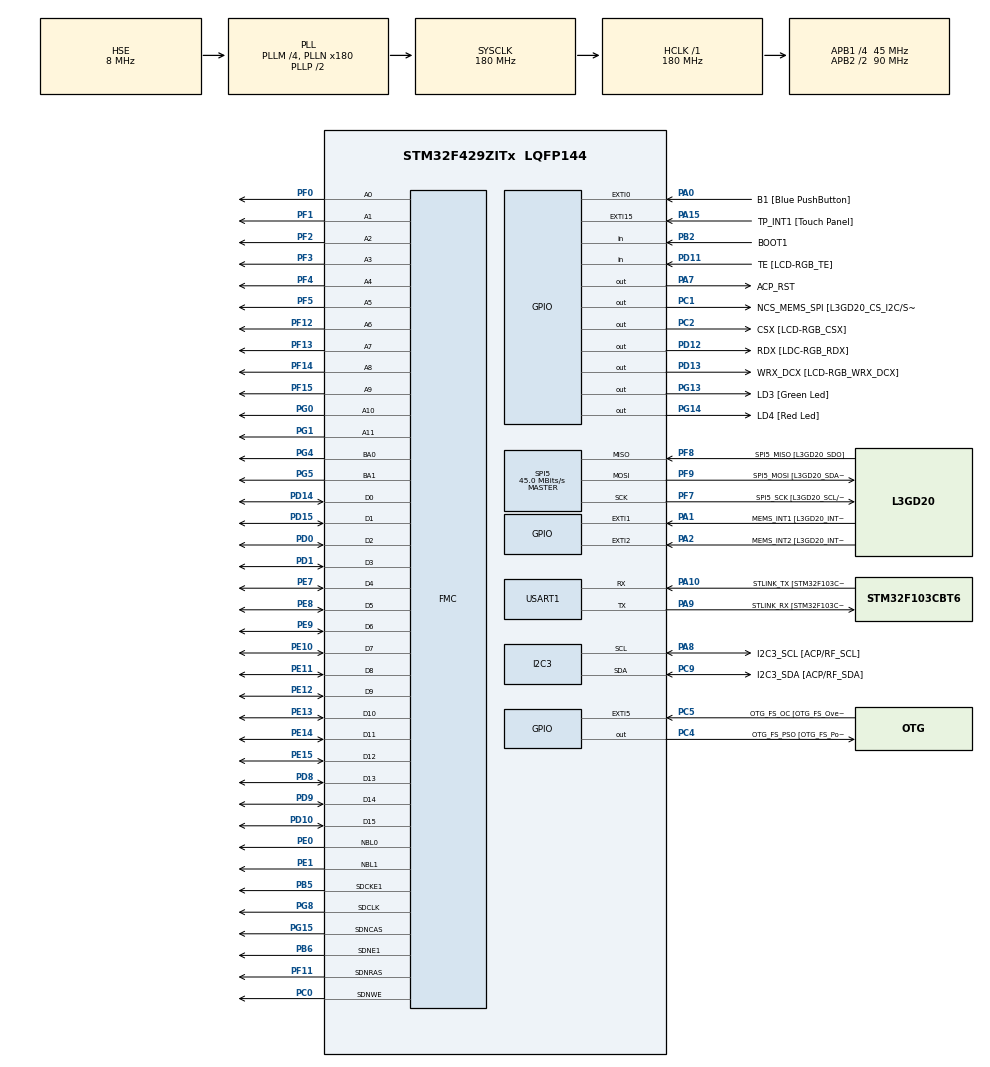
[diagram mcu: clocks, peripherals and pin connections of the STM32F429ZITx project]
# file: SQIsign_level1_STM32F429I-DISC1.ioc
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Mcu.Family=STM32F4
Mcu.Name=STM32F429ZITx
Mcu.Package=LQFP144
NVIC.PriorityGroup=NVIC_PRIORITYGROUP_4
NVIC.TIM6_DAC_IRQn=true\:15\:0\:false\:false\:true\:false\:true\:true
NVIC.TimeBase=TIM6_DAC_IRQn
NVIC.TimeBaseIP=TIM6
PA0/WKUP.GPIO_Label=B1 [Blue PushButton]
PA0/WKUP.GPIO_ModeDefaultEXTI=GPIO_MODE_EVT_RISING
PA0/WKUP.GPIO_PuPd=GPIO_NOPULL
PA0/WKUP.Signal=GPXTI0
PA1.GPIO_Label=MEMS_INT1 [L3GD20_INT1]
PA1.GPIO_ModeDefaultEXTI=GPIO_MODE_EVT_RISING
PA1.GPIO_PuPd=GPIO_NOPULL
PA1.Signal=GPXTI1
PA10.GPIO_Label=STLINK_TX [STM32F103CBT6_PA2]
PA10.Mode=Asynchronous
PA10.Signal=USART1_RX
PA11.GPIO_Label=R4
PA11.GPIO_Mode=GPIO_MODE_AF_PP
PA11.GPIO_PuPd=GPIO_NOPULL
PA11.GPIO_Speed=GPIO_SPEED_FREQ_LOW
PA11.Signal=LTDC_R4
PA12.GPIO_Label=R5
PA12.GPIO_Mode=GPIO_MODE_AF_PP
PA12.GPIO_PuPd=GPIO_NOPULL
PA12.GPIO_Speed=GPIO_SPEED_FREQ_LOW
PA12.Signal=LTDC_R5
PA13.GPIO_Label=SWDIO
PA13.Mode=Serial_Wire
PA13.Signal=SYS_JTMS-SWDIO
PA14.GPIO_Label=SWCLK
PA14.Mode=Serial_Wire
PA14.Signal=SYS_JTCK-SWCLK
PA15.GPIO_Label=TP_INT1 [Touch Panel]
PA15.GPIO_ModeDefaultEXTI=GPIO_MODE_EVT_RISING
PA15.GPIO_PuPd=GPIO_NOPULL
PA15.Signal=GPXTI15
PA2.GPIO_Label=MEMS_INT2 [L3GD20_INT2]
PA2.GPIO_ModeDefaultEXTI=GPIO_MODE_EVT_RISING
PA2.GPIO_PuPd=GPIO_NOPULL
PA2.Signal=GPXTI2
PA3.GPIO_Label=B5
PA3.GPIO_Mode=GPIO_MODE_AF_PP
PA3.GPIO_PuPd=GPIO_NOPULL
PA3.GPIO_Speed=GPIO_SPEED_FREQ_LOW
PA3.Signal=LTDC_B5
PA4.GPIO_Label=VSYNC
PA4.GPIO_Mode=GPIO_MODE_AF_PP
PA4.GPIO_PuPd=GPIO_NOPULL
PA4.GPIO_Speed=GPIO_SPEED_FREQ_LOW
PA4.Signal=LTDC_VSYNC
PA6.GPIO_Label=G2
PA6.GPIO_Mode=GPIO_MODE_AF_PP
PA6.GPIO_PuPd=GPIO_NOPULL
PA6.GPIO_Speed=GPIO_SPEED_FREQ_LOW
PA6.Signal=LTDC_G2
PA7.GPIO_Label=ACP_RST
PA7.GPIO_Mode=GPIO_MODE_OUTPUT_PP
PA7.GPIO_PuPd=GPIO_NOPULL
PA7.GPIO_Speed=GPIO_SPEED_FREQ_LOW
PA7.Signal=GPIO_Output
PA8.GPIO_Label=I2C3_SCL [ACP/RF_SCL]
PA8.GPIO_Mode=GPIO_MODE_AF_OD
PA8.GPIO_Pu=GPIO_PULLUP
PA8.GPIO_PuPd=GPIO_NOPULL
PA8.GPIO_Speed=GPIO_SPEED_FREQ_LOW
PA8.Mode=I2C
PA8.Signal=I2C3_SCL
PA9.GPIO_Label=STLINK_RX [STM32F103CBT6_PA3]
PA9.Mode=Asynchronous
PA9.Signal=USART1_TX
PB0.GPIO_Label=R3
PB0.GPIO_Mode=GPIO_MODE_AF_PP
PB0.GPIO_PuPd=GPIO_NOPULL
PB0.GPIO_Speed=GPIO_SPEED_FREQ_LOW
PB0.Signal=LTDC_R3
PB1.GPIO_Label=R6
PB1.GPIO_Mode=GPIO_MODE_AF_PP
PB1.GPIO_PuPd=GPIO_NOPULL
PB1.GPIO_Speed=GPIO_SPEED_FREQ_LOW
PB1.Signal=LTDC_R6
PB10.GPIO_Label=G4
PB10.GPIO_Mode=GPIO_MODE_AF_PP
PB10.GPIO_PuPd=GPIO_NOPULL
PB10.GPIO_Speed=GPIO_SPEED_FREQ_LOW
PB10.Signal=LTDC_G4
PB11.GPIO_Label=G5
PB11.GPIO_Mode=GPIO_MODE_AF_PP
PB11.GPIO_PuPd=GPIO_NOPULL
PB11.GPIO_Speed=GPIO_SPEED_FREQ_LOW
PB11.Signal=LTDC_G5
PB12.GPIO_Label=OTG_HS_ID
PB12.GPIO_Mode=GPIO_MODE_AF_PP
PB12.GPIO_PuPd=GPIO_NOPULL
PB12.GPIO_Speed=GPIO_SPEED_FREQ_LOW
PB12.Signal=USB_OTG_HS_ID
PB13.GPIO_Label=VBUS_HS
PB13.GPIO_Mode=GPIO_MODE_INPUT
PB13.GPIO_PuPd=GPIO_NOPULL
PB13.Signal=USB_OTG_HS_VBUS
PB14.GPIO_Label=OTG_HS_DM
PB14.GPIO_Mode=GPIO_MODE_AF_PP
PB14.GPIO_PuPd=GPIO_NOPULL
PB14.GPIO_Speed=GPIO_SPEED_FREQ_LOW
PB14.Signal=USB_OTG_HS_DM
PB15.GPIO_Label=OTG_HS_DP
PB15.GPIO_Mode=GPIO_MODE_AF_PP
PB15.GPIO_PuPd=GPIO_NOPULL
PB15.GPIO_Speed=GPIO_SPEED_FREQ_LOW
PB15.Signal=USB_OTG_HS_DP
PB2/BOOT1.GPIO_Label=BOOT1
PB2/BOOT1.GPIO_Mode=GPIO_MODE_INPUT
PB2/BOOT1.GPIO_PuPd=GPIO_NOPULL
PB2/BOOT1.Signal=GPIO_Input
PB5.GPIO_Mode=GPIO_MODE_AF_PP
PB5.GPIO_PuPd=GPIO_NOPULL
PB5.GPIO_Speed=GPIO_SPEED_FREQ_VERY_HIGH
PB5.GPIO_Speed_High_Default=GPIO_SPEED_FREQ_VERY_HIGH
PB5.Mode=SdramChipSelect2_1
PB5.Signal=FMC_SDCKE1
PB6.GPIO_Mode=GPIO_MODE_AF_PP
PB6.GPIO_PuPd=GPIO_NOPULL
PB6.GPIO_Speed=GPIO_SPEED_FREQ_VERY_HIGH
PB6.GPIO_Speed_High_Default=GPIO_SPEED_FREQ_VERY_HIGH
PB6.Mode=SdramChipSelect2_1
PB6.Signal=FMC_SDNE1
PB8.GPIO_Label=B6
PB8.GPIO_Mode=GPIO_MODE_AF_PP
PB8.GPIO_PuPd=GPIO_NOPULL
PB8.GPIO_Speed=GPIO_SPEED_FREQ_LOW
PB8.Signal=LTDC_B6
PB9.GPIO_Label=B7
PB9.GPIO_Mode=GPIO_MODE_AF_PP
PB9.GPIO_PuPd=GPIO_NOPULL
PB9.GPIO_Speed=GPIO_SPEED_FREQ_LOW
PB9.Signal=LTDC_B7
PC0.GPIO_Mode=GPIO_MODE_AF_PP
PC0.GPIO_PuPd=GPIO_NOPULL
PC0.GPIO_Speed=GPIO_SPEED_FREQ_VERY_HIGH
PC0.GPIO_Speed_High_Default=GPIO_SPEED_FREQ_VERY_HIGH
PC0.Signal=FMC_SDNWE
PC1.GPIO_Label=NCS_MEMS_SPI [L3GD20_CS_I2C/SPI]
PC1.GPIO_Mode=GPIO_MODE_OUTPUT_PP
PC1.GPIO_PuPd=GPIO_NOPULL
PC1.GPIO_Speed=GPIO_SPEED_FREQ_LOW
PC1.Signal=GPIO_Output
PC10.GPIO_Label=R2
PC10.GPIO_Mode=GPIO_MODE_AF_PP
PC10.GPIO_PuPd=GPIO_NOPULL
PC10.GPIO_Speed=GPIO_SPEED_FREQ_LOW
PC10.Signal=LTDC_R2
PC14/OSC32_IN.GPIO_Label=PC14-OSC32_IN
PC14/OSC32_IN.Signal=RCC_OSC32_IN
PC15/OSC32_OUT.GPIO_Label=PC15-OSC32_OUT
PC15/OSC32_OUT.Signal=RCC_OSC32_OUT
PC2.GPIO_Label=CSX [LCD-RGB_CSX]
PC2.GPIO_Mode=GPIO_MODE_OUTPUT_PP
PC2.GPIO_PuPd=GPIO_NOPULL
PC2.GPIO_Speed=GPIO_SPEED_FREQ_LOW
PC2.Signal=GPIO_Output
PC4.GPIO_Label=OTG_FS_PSO [OTG_FS_PowerSwitchOn]
PC4.GPIO_Mode=GPIO_MODE_OUTPUT_PP
PC4.GPIO_PuPd=GPIO_NOPULL
PC4.GPIO_Speed=GPIO_SPEED_FREQ_LOW
PC4.Signal=GPIO_Output
PC5.GPIO_Label=OTG_FS_OC [OTG_FS_OverCurrent]
PC5.GPIO_ModeDefaultEXTI=GPIO_MODE_EVT_RISING
PC5.Signal=GPXTI5
PC6.GPIO_Label=HSYNC
PC6.GPIO_Mode=GPIO_MODE_AF_PP
PC6.GPIO_PuPd=GPIO_NOPULL
PC6.GPIO_Speed=GPIO_SPEED_FREQ_LOW
PC6.Signal=LTDC_HSYNC
PC7.GPIO_Label=G6
PC7.GPIO_Mode=GPIO_MODE_AF_PP
PC7.GPIO_PuPd=GPIO_NOPULL
PC7.GPIO_Speed=GPIO_SPEED_FREQ_LOW
PC7.Signal=LTDC_G6
PC9.GPIO_Label=I2C3_SDA [ACP/RF_SDA]
PC9.GPIO_Mode=GPIO_MODE_AF_OD
PC9.GPIO_Pu=GPIO_PULLUP
PC9.GPIO_PuPd=GPIO_NOPULL
PC9.GPIO_Speed=GPIO_SPEED_FREQ_LOW
PC9.Mode=I2C
PC9.Signal=I2C3_SDA
PD0.GPIO_Mode=GPIO_MODE_AF_PP
PD0.GPIO_PuPd=GPIO_NOPULL
PD0.GPIO_Speed=GPIO_SPEED_FREQ_VERY_HIGH
PD0.GPIO_Speed_High_Default=GPIO_SPEED_FREQ_VERY_HIGH
PD0.Signal=FMC_D2_DA2
PD1.GPIO_Mode=GPIO_MODE_AF_PP
PD1.GPIO_PuPd=GPIO_NOPULL
PD1.GPIO_Speed=GPIO_SPEED_FREQ_VERY_HIGH
PD1.GPIO_Speed_High_Default=GPIO_SPEED_FREQ_VERY_HIGH
PD1.Signal=FMC_D3_DA3
PD10.GPIO_Mode=GPIO_MODE_AF_PP
PD10.GPIO_PuPd=GPIO_NOPULL
PD10.GPIO_Speed=GPIO_SPEED_FREQ_VERY_HIGH
PD10.GPIO_Speed_High_Default=GPIO_SPEED_FREQ_VERY_HIGH
PD10.Signal=FMC_D15_DA15
PD11.GPIO_Label=TE [LCD-RGB_TE]
PD11.GPIO_Mode=GPIO_MODE_INPUT
PD11.GPIO_PuPd=GPIO_NOPULL
PD11.Signal=GPIO_Input
PD12.GPIO_Label=RDX [LDC-RGB_RDX]
PD12.GPIO_Mode=GPIO_MODE_OUTPUT_PP
PD12.GPIO_PuPd=GPIO_NOPULL
PD12.GPIO_Speed=GPIO_SPEED_FREQ_LOW
PD12.Signal=GPIO_Output
PD13.GPIO_Label=WRX_DCX [LCD-RGB_WRX_DCX]
PD13.GPIO_Mode=GPIO_MODE_OUTPUT_PP
PD13.GPIO_PuPd=GPIO_NOPULL
PD13.GPIO_Speed=GPIO_SPEED_FREQ_LOW
PD13.Signal=GPIO_Output
PD14.GPIO_Mode=GPIO_MODE_AF_PP
PD14.GPIO_PuPd=GPIO_NOPULL
PD14.GPIO_Speed=GPIO_SPEED_FREQ_VERY_HIGH
PD14.GPIO_Speed_High_Default=GPIO_SPEED_FREQ_VERY_HIGH
PD14.Signal=FMC_D0_DA0
PD15.GPIO_Mode=GPIO_MODE_AF_PP
PD15.GPIO_PuPd=GPIO_NOPULL
PD15.GPIO_Speed=GPIO_SPEED_FREQ_VERY_HIGH
PD15.GPIO_Speed_High_Default=GPIO_SPEED_FREQ_VERY_HIGH
PD15.Signal=FMC_D1_DA1
PD3.GPIO_Label=G7
PD3.GPIO_Mode=GPIO_MODE_AF_PP
PD3.GPIO_PuPd=GPIO_NOPULL
PD3.GPIO_Speed=GPIO_SPEED_FREQ_LOW
PD3.Signal=LTDC_G7
PD6.GPIO_Label=B2
PD6.GPIO_Mode=GPIO_MODE_AF_PP
PD6.GPIO_PuPd=GPIO_NOPULL
PD6.GPIO_Speed=GPIO_SPEED_FREQ_LOW
PD6.Signal=LTDC_B2
PD8.GPIO_Mode=GPIO_MODE_AF_PP
PD8.GPIO_PuPd=GPIO_NOPULL
PD8.GPIO_Speed=GPIO_SPEED_FREQ_VERY_HIGH
PD8.GPIO_Speed_High_Default=GPIO_SPEED_FREQ_VERY_HIGH
PD8.Signal=FMC_D13_DA13
PD9.GPIO_Mode=GPIO_MODE_AF_PP
PD9.GPIO_PuPd=GPIO_NOPULL
PD9.GPIO_Speed=GPIO_SPEED_FREQ_VERY_HIGH
PD9.GPIO_Speed_High_Default=GPIO_SPEED_FREQ_VERY_HIGH
PD9.Signal=FMC_D14_DA14
PE0.GPIO_Mode=GPIO_MODE_AF_PP
PE0.GPIO_PuPd=GPIO_NOPULL
PE0.GPIO_Speed=GPIO_SPEED_FREQ_VERY_HIGH
PE0.GPIO_Speed_High_Default=GPIO_SPEED_FREQ_VERY_HIGH
PE0.Signal=FMC_NBL0
PE1.GPIO_Mode=GPIO_MODE_AF_PP
PE1.GPIO_PuPd=GPIO_NOPULL
PE1.GPIO_Speed=GPIO_SPEED_FREQ_VERY_HIGH
PE1.GPIO_Speed_High_Default=GPIO_SPEED_FREQ_VERY_HIGH
PE1.Signal=FMC_NBL1
PE10.GPIO_Mode=GPIO_MODE_AF_PP
PE10.GPIO_PuPd=GPIO_NOPULL
PE10.GPIO_Speed=GPIO_SPEED_FREQ_VERY_HIGH
PE10.GPIO_Speed_High_Default=GPIO_SPEED_FREQ_VERY_HIGH
PE10.Signal=FMC_D7_DA7
PE11.GPIO_Mode=GPIO_MODE_AF_PP
PE11.GPIO_PuPd=GPIO_NOPULL
PE11.GPIO_Speed=GPIO_SPEED_FREQ_VERY_HIGH
PE11.GPIO_Speed_High_Default=GPIO_SPEED_FREQ_VERY_HIGH
PE11.Signal=FMC_D8_DA8
PE12.GPIO_Mode=GPIO_MODE_AF_PP
PE12.GPIO_PuPd=GPIO_NOPULL
PE12.GPIO_Speed=GPIO_SPEED_FREQ_VERY_HIGH
PE12.GPIO_Speed_High_Default=GPIO_SPEED_FREQ_VERY_HIGH
PE12.Signal=FMC_D9_DA9
PE13.GPIO_Mode=GPIO_MODE_AF_PP
PE13.GPIO_PuPd=GPIO_NOPULL
PE13.GPIO_Speed=GPIO_SPEED_FREQ_VERY_HIGH
PE13.GPIO_Speed_High_Default=GPIO_SPEED_FREQ_VERY_HIGH
PE13.Signal=FMC_D10_DA10
PE14.GPIO_Mode=GPIO_MODE_AF_PP
PE14.GPIO_PuPd=GPIO_NOPULL
PE14.GPIO_Speed=GPIO_SPEED_FREQ_VERY_HIGH
PE14.GPIO_Speed_High_Default=GPIO_SPEED_FREQ_VERY_HIGH
PE14.Signal=FMC_D11_DA11
PE15.GPIO_Mode=GPIO_MODE_AF_PP
PE15.GPIO_PuPd=GPIO_NOPULL
PE15.GPIO_Speed=GPIO_SPEED_FREQ_VERY_HIGH
PE15.GPIO_Speed_High_Default=GPIO_SPEED_FREQ_VERY_HIGH
PE15.Signal=FMC_D12_DA12
PE7.GPIO_Mode=GPIO_MODE_AF_PP
PE7.GPIO_PuPd=GPIO_NOPULL
PE7.GPIO_Speed=GPIO_SPEED_FREQ_VERY_HIGH
PE7.GPIO_Speed_High_Default=GPIO_SPEED_FREQ_VERY_HIGH
PE7.Signal=FMC_D4_DA4
PE8.GPIO_Mode=GPIO_MODE_AF_PP
PE8.GPIO_PuPd=GPIO_NOPULL
PE8.GPIO_Speed=GPIO_SPEED_FREQ_VERY_HIGH
PE8.GPIO_Speed_High_Default=GPIO_SPEED_FREQ_VERY_HIGH
PE8.Signal=FMC_D5_DA5
PE9.GPIO_Mode=GPIO_MODE_AF_PP
PE9.GPIO_PuPd=GPIO_NOPULL
PE9.GPIO_Speed=GPIO_SPEED_FREQ_VERY_HIGH
PE9.GPIO_Speed_High_Default=GPIO_SPEED_FREQ_VERY_HIGH
PE9.Signal=FMC_D6_DA6
PF0.GPIO_Mode=GPIO_MODE_AF_PP
PF0.GPIO_PuPd=GPIO_NOPULL
PF0.GPIO_Speed=GPIO_SPEED_FREQ_VERY_HIGH
PF0.GPIO_Speed_High_Default=GPIO_SPEED_FREQ_VERY_HIGH
PF0.Signal=FMC_A0
PF1.GPIO_Mode=GPIO_MODE_AF_PP
PF1.GPIO_PuPd=GPIO_NOPULL
PF1.GPIO_Speed=GPIO_SPEED_FREQ_VERY_HIGH
PF1.GPIO_Speed_High_Default=GPIO_SPEED_FREQ_VERY_HIGH
PF1.Signal=FMC_A1
PF10.GPIO_Label=ENABLE [LCD-RGB_ENABLE]
PF10.GPIO_Mode=GPIO_MODE_AF_PP
PF10.GPIO_PuPd=GPIO_NOPULL
PF10.GPIO_Speed=GPIO_SPEED_FREQ_LOW
PF10.Signal=LTDC_DE
PF11.GPIO_Mode=GPIO_MODE_AF_PP
PF11.GPIO_PuPd=GPIO_NOPULL
PF11.GPIO_Speed=GPIO_SPEED_FREQ_VERY_HIGH
PF11.GPIO_Speed_High_Default=GPIO_SPEED_FREQ_VERY_HIGH
PF11.Signal=FMC_SDNRAS
PF12.GPIO_Mode=GPIO_MODE_AF_PP
PF12.GPIO_PuPd=GPIO_NOPULL
PF12.GPIO_Speed=GPIO_SPEED_FREQ_VERY_HIGH
PF12.GPIO_Speed_High_Default=GPIO_SPEED_FREQ_VERY_HIGH
PF12.Signal=FMC_A6
PF13.GPIO_Mode=GPIO_MODE_AF_PP
PF13.GPIO_PuPd=GPIO_NOPULL
PF13.GPIO_Speed=GPIO_SPEED_FREQ_VERY_HIGH
PF13.GPIO_Speed_High_Default=GPIO_SPEED_FREQ_VERY_HIGH
PF13.Signal=FMC_A7
PF14.GPIO_Mode=GPIO_MODE_AF_PP
PF14.GPIO_PuPd=GPIO_NOPULL
PF14.GPIO_Speed=GPIO_SPEED_FREQ_VERY_HIGH
PF14.GPIO_Speed_High_Default=GPIO_SPEED_FREQ_VERY_HIGH
PF14.Signal=FMC_A8
PF15.GPIO_Mode=GPIO_MODE_AF_PP
PF15.GPIO_PuPd=GPIO_NOPULL
PF15.GPIO_Speed=GPIO_SPEED_FREQ_VERY_HIGH
PF15.GPIO_Speed_High_Default=GPIO_SPEED_FREQ_VERY_HIGH
PF15.Signal=FMC_A9
PF2.GPIO_Mode=GPIO_MODE_AF_PP
PF2.GPIO_PuPd=GPIO_NOPULL
PF2.GPIO_Speed=GPIO_SPEED_FREQ_VERY_HIGH
PF2.GPIO_Speed_High_Default=GPIO_SPEED_FREQ_VERY_HIGH
PF2.Signal=FMC_A2
PF3.GPIO_Mode=GPIO_MODE_AF_PP
PF3.GPIO_PuPd=GPIO_NOPULL
PF3.GPIO_Speed=GPIO_SPEED_FREQ_VERY_HIGH
PF3.GPIO_Speed_High_Default=GPIO_SPEED_FREQ_VERY_HIGH
PF3.Signal=FMC_A3
PF4.GPIO_Mode=GPIO_MODE_AF_PP
PF4.GPIO_PuPd=GPIO_NOPULL
PF4.GPIO_Speed=GPIO_SPEED_FREQ_VERY_HIGH
PF4.GPIO_Speed_High_Default=GPIO_SPEED_FREQ_VERY_HIGH
PF4.Signal=FMC_A4
PF5.GPIO_Mode=GPIO_MODE_AF_PP
PF5.GPIO_PuPd=GPIO_NOPULL
PF5.GPIO_Speed=GPIO_SPEED_FREQ_VERY_HIGH
PF5.GPIO_Speed_High_Default=GPIO_SPEED_FREQ_VERY_HIGH
PF5.Signal=FMC_A5
PF7.GPIO_Label=SPI5_SCK [L3GD20_SCL/SPC]
PF7.GPIO_Mode=GPIO_MODE_AF_PP
PF7.GPIO_PuPd=GPIO_NOPULL
PF7.GPIO_Speed=GPIO_SPEED_FREQ_LOW
PF7.Mode=Full_Duplex_Master
PF7.Signal=SPI5_SCK
PF8.GPIO_Label=SPI5_MISO [L3GD20_SDO]
PF8.GPIO_Mode=GPIO_MODE_AF_PP
PF8.GPIO_PuPd=GPIO_NOPULL
PF8.GPIO_Speed=GPIO_SPEED_FREQ_LOW
PF8.Mode=Full_Duplex_Master
PF8.Signal=SPI5_MISO
PF9.GPIO_Label=SPI5_MOSI [L3GD20_SDA/SDI/SDO]
PF9.GPIO_Mode=GPIO_MODE_AF_PP
PF9.GPIO_PuPd=GPIO_NOPULL
PF9.GPIO_Speed=GPIO_SPEED_FREQ_LOW
PF9.Mode=Full_Duplex_Master
PF9.Signal=SPI5_MOSI
PG0.GPIO_Mode=GPIO_MODE_AF_PP
PG0.GPIO_PuPd=GPIO_NOPULL
PG0.GPIO_Speed=GPIO_SPEED_FREQ_VERY_HIGH
PG0.GPIO_Speed_High_Default=GPIO_SPEED_FREQ_VERY_HIGH
PG0.Signal=FMC_A10
PG1.GPIO_Mode=GPIO_MODE_AF_PP
PG1.GPIO_PuPd=GPIO_NOPULL
PG1.GPIO_Speed=GPIO_SPEED_FREQ_VERY_HIGH
PG1.GPIO_Speed_High_Default=GPIO_SPEED_FREQ_VERY_HIGH
PG1.Signal=FMC_A11
PG10.GPIO_Label=G3
PG10.GPIO_Mode=GPIO_MODE_AF_PP
PG10.GPIO_PuPd=GPIO_NOPULL
PG10.GPIO_Speed=GPIO_SPEED_FREQ_LOW
PG10.Signal=LTDC_G3
PG11.GPIO_Label=B3
PG11.GPIO_Mode=GPIO_MODE_AF_PP
PG11.GPIO_PuPd=GPIO_NOPULL
PG11.GPIO_Speed=GPIO_SPEED_FREQ_LOW
PG11.Signal=LTDC_B3
PG12.GPIO_Label=B4
PG12.GPIO_Mode=GPIO_MODE_AF_PP
PG12.GPIO_PuPd=GPIO_NOPULL
PG12.GPIO_Speed=GPIO_SPEED_FREQ_LOW
PG12.Signal=LTDC_B4
PG13.GPIO_Label=LD3 [Green Led]
PG13.GPIO_Mode=GPIO_MODE_OUTPUT_PP
PG13.GPIO_PuPd=GPIO_NOPULL
PG13.GPIO_Speed=GPIO_SPEED_FREQ_LOW
PG13.Signal=GPIO_Output
PG14.GPIO_Label=LD4 [Red Led]
PG14.GPIO_Mode=GPIO_MODE_OUTPUT_PP
PG14.GPIO_PuPd=GPIO_NOPULL
PG14.GPIO_Speed=GPIO_SPEED_FREQ_LOW
PG14.Signal=GPIO_Output
PG15.GPIO_Mode=GPIO_MODE_AF_PP
PG15.GPIO_PuPd=GPIO_NOPULL
PG15.GPIO_Speed=GPIO_SPEED_FREQ_VERY_HIGH
PG15.GPIO_Speed_High_Default=GPIO_SPEED_FREQ_VERY_HIGH
PG15.Signal=FMC_SDNCAS
PG4.GPIO_Mode=GPIO_MODE_AF_PP
PG4.GPIO_PuPd=GPIO_NOPULL
PG4.GPIO_Speed=GPIO_SPEED_FREQ_VERY_HIGH
PG4.GPIO_Speed_High_Default=GPIO_SPEED_FREQ_VERY_HIGH
PG4.Signal=FMC_A14_BA0
PG5.GPIO_Mode=GPIO_MODE_AF_PP
PG5.GPIO_PuPd=GPIO_NOPULL
PG5.GPIO_Speed=GPIO_SPEED_FREQ_VERY_HIGH
PG5.GPIO_Speed_High_Default=GPIO_SPEED_FREQ_VERY_HIGH
PG5.Signal=FMC_A15_BA1
PG6.GPIO_Label=R7
PG6.GPIO_Mode=GPIO_MODE_AF_PP
PG6.GPIO_PuPd=GPIO_NOPULL
PG6.GPIO_Speed=GPIO_SPEED_FREQ_LOW
PG6.Signal=LTDC_R7
PG7.GPIO_Label=DOTCLK [LCT-RGB_DOTCLK]
PG7.GPIO_Mode=GPIO_MODE_AF_PP
PG7.GPIO_PuPd=GPIO_NOPULL
PG7.GPIO_Speed=GPIO_SPEED_FREQ_LOW
PG7.Signal=LTDC_CLK
PG8.GPIO_Mode=GPIO_MODE_AF_PP
PG8.GPIO_PuPd=GPIO_NOPULL
PG8.GPIO_Speed=GPIO_SPEED_FREQ_VERY_HIGH
PG8.GPIO_Speed_High_Default=GPIO_SPEED_FREQ_VERY_HIGH
PG8.Signal=FMC_SDCLK
PH0/OSC_IN.GPIO_Label=PH0-OSC_IN
PH0/OSC_IN.Mode=HSE-External-Oscillator
PH0/OSC_IN.Signal=RCC_OSC_IN
PH1/OSC_OUT.GPIO_Label=PH1-OSC_OUT
PH1/OSC_OUT.Mode=HSE-External-Oscillator
PH1/OSC_OUT.Signal=RCC_OSC_OUT
ProjectManager.HeapSize=0x200
ProjectManager.StackSize=0x400
ProjectManager.TargetToolchain=STM32CubeIDE
RCC.48MHZClocksFreq_Value=45000000
RCC.AHBFreq_Value=180000000
RCC.APB1CLKDivider=RCC_HCLK_DIV4
RCC.APB1Freq_Value=45000000
RCC.APB1TimFreq_Value=90000000
RCC.APB2CLKDivider=RCC_HCLK_DIV2
RCC.APB2Freq_Value=90000000
RCC.APB2TimFreq_Value=180000000
RCC.CortexFreq_Value=180000000
RCC.HCLKFreq_Value=180000000
RCC.HSE_VALUE=8000000
RCC.HSI_VALUE=16000000
RCC.LSE_VALUE=32768
RCC.PLLM=4
RCC.PLLN=180
RCC.PLLQ=8
RCC.PLLSAIN=50
RCC.PLLSourceVirtual=RCC_PLLSOURCE_HSE
RCC.SYSCLKFreq_VALUE=180000000
RCC.SYSCLKSource=RCC_SYSCLKSOURCE_PLLCLK
RCC.VCOOutputFreq_Value=360000000
SH.FMC_A0.0=FMC_A0,12b-sda1
SH.FMC_A1.0=FMC_A1,12b-sda1
SH.FMC_A10.0=FMC_A10,12b-sda1
SH.FMC_A11.0=FMC_A11,12b-sda1
SH.FMC_A14_BA0.0=FMC_BA0,FourSdramBanks1
SH.FMC_A15_BA1.0=FMC_BA1,FourSdramBanks1
SH.FMC_A2.0=FMC_A2,12b-sda1
SH.FMC_A3.0=FMC_A3,12b-sda1
SH.FMC_A4.0=FMC_A4,12b-sda1
SH.FMC_A5.0=FMC_A5,12b-sda1
SH.FMC_A6.0=FMC_A6,12b-sda1
SH.FMC_A7.0=FMC_A7,12b-sda1
SH.FMC_A8.0=FMC_A8,12b-sda1
SH.FMC_A9.0=FMC_A9,12b-sda1
SH.FMC_D0_DA0.0=FMC_D0,sd-16b-d1
SH.FMC_D10_DA10.0=FMC_D10,sd-16b-d1
SH.FMC_D11_DA11.0=FMC_D11,sd-16b-d1
SH.FMC_D12_DA12.0=FMC_D12,sd-16b-d1
SH.FMC_D13_DA13.0=FMC_D13,sd-16b-d1
SH.FMC_D14_DA14.0=FMC_D14,sd-16b-d1
SH.FMC_D15_DA15.0=FMC_D15,sd-16b-d1
SH.FMC_D1_DA1.0=FMC_D1,sd-16b-d1
SH.FMC_D2_DA2.0=FMC_D2,sd-16b-d1
SH.FMC_D3_DA3.0=FMC_D3,sd-16b-d1
SH.FMC_D4_DA4.0=FMC_D4,sd-16b-d1
SH.FMC_D5_DA5.0=FMC_D5,sd-16b-d1
SH.FMC_D6_DA6.0=FMC_D6,sd-16b-d1
SH.FMC_D7_DA7.0=FMC_D7,sd-16b-d1
SH.FMC_D8_DA8.0=FMC_D8,sd-16b-d1
SH.FMC_D9_DA9.0=FMC_D9,sd-16b-d1
SH.FMC_NBL0.0=FMC_NBL0,Sd2ByteEnable1
SH.FMC_NBL1.0=FMC_NBL1,Sd2ByteEnable1
SH.FMC_SDCLK.0=FMC_SDCLK,12b-sda1
SH.FMC_SDNCAS.0=FMC_SDNCAS,12b-sda1
SH.FMC_SDNRAS.0=FMC_SDNRAS,12b-sda1
SH.FMC_SDNWE.0=FMC_SDNWE,12b-sda1
SPI5.CalculateBaudRate=45.0 MBits/s
SPI5.Direction=SPI_DIRECTION_2LINES
SPI5.Mode=SPI_MODE_MASTER
SPI5.VirtualType=VM_MASTER
USART1.VirtualMode=VM_ASYNC
VP_RNG_VS_RNG.Mode=RNG_Activate
VP_SYS_VS_tim6.Mode=TIM6
VP_TIM1_VS_ClockSourceINT.Mode=Internal
board=STM32F429I-DISC1

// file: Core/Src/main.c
/* USER CODE BEGIN Header */
/**
  ******************************************************************************
  * @file           : main.c
  * @brief          : Main program body
  ******************************************************************************
  * @attention
  *
  * Copyright (c) 2025 STMicroelectronics.
  * All rights reserved.
  *
  * This software is licensed under terms that can be found in the LICENSE file
  * in the root directory of this software component.
  * If no LICENSE file comes with this software, it is provided AS-IS.
  *
  ******************************************************************************
  */
/* USER CODE END Header */
#include "main.h"

/* USER CODE BEGIN Includes */
#include "stm32f429i_discovery_sdram.h"
#include <stdlib.h>
#include <stdio.h>
extern char __stack_end__;
/* USER CODE END Includes */

I2C_HandleTypeDef hi2c3;

RNG_HandleTypeDef hrng;

SPI_HandleTypeDef hspi5;

TIM_HandleTypeDef htim1;

UART_HandleTypeDef huart1;

SDRAM_HandleTypeDef hsdram1;

/* USER CODE BEGIN PV */
#define SDRAM_BASE_ADDR   ((uint32_t)0xD0000000)
#define SDRAM_SIZE_BYTES  (8 * 1024 * 1024) // 8 Mo

void SDRAM_Clear(void)
{
    uint32_t *p = (uint32_t *)SDRAM_BASE_ADDR;
    for (uint32_t i = 0; i < SDRAM_SIZE_BYTES / 4; ++i)
    {
        p[i] = 0;
    }
}
/* USER CODE END PV */

void SystemClock_Config(void);
static void MX_GPIO_Init(void);
static void MX_FMC_Init(void);
static void MX_TIM1_Init(void);
static void MX_USART1_UART_Init(void);
static void MX_RNG_Init(void);
static void MX_I2C3_Init(void);
static void MX_SPI5_Init(void);

/* USER CODE BEGIN 0 */
extern int example_sqisign(void);

/* USER CODE END 0 */

int main(void)
{

  /* MCU Configuration--------------------------------------------------------*/

  /* Reset of all peripherals, Initializes the Flash interface and the Systick. */
  HAL_Init();

  /* Configure the system clock */
  SystemClock_Config();

  /* USER CODE BEGIN SysInit */
  /*BSP_SDRAM_Init();

  __asm volatile (
      "msr msp, %0\n"
      :
      : "r"(&__stack_end__)
      :
  );*/

  /* USER CODE END SysInit */

  /* Initialize all configured peripherals */
  MX_GPIO_Init();
  //MX_FMC_Init();
  BSP_SDRAM_Init();
  MX_TIM1_Init();
  MX_USART1_UART_Init();
  MX_RNG_Init();
  MX_I2C3_Init();
  MX_SPI5_Init();
  /* USER CODE BEGIN 2 */
  SDRAM_Clear();
  __asm volatile (
        "msr msp, %0\n"
        :
        : "r"(&__stack_end__)
        :
    );
  /* USER CODE END 2 */

  /* Infinite loop */
  while (1)
  {

    /* USER CODE BEGIN 3 */
	  printf("START \n");
	  example_sqisign();

  }
  /* USER CODE END 3 */
}

void SystemClock_Config(void)
{
  RCC_OscInitTypeDef RCC_OscInitStruct = {0};
  RCC_ClkInitTypeDef RCC_ClkInitStruct = {0};

  /** Configure the main internal regulator output voltage
  */
  __HAL_RCC_PWR_CLK_ENABLE();
  __HAL_PWR_VOLTAGESCALING_CONFIG(PWR_REGULATOR_VOLTAGE_SCALE1);

  /** Initializes the RCC Oscillators according to the specified parameters
  * in the RCC_OscInitTypeDef structure.
  */
  RCC_OscInitStruct.OscillatorType = RCC_OSCILLATORTYPE_HSE;
  RCC_OscInitStruct.HSEState = RCC_HSE_ON;
  RCC_OscInitStruct.PLL.PLLState = RCC_PLL_ON;
  RCC_OscInitStruct.PLL.PLLSource = RCC_PLLSOURCE_HSE;
  RCC_OscInitStruct.PLL.PLLM = 4;
  RCC_OscInitStruct.PLL.PLLN = 180;
  RCC_OscInitStruct.PLL.PLLP = RCC_PLLP_DIV2;
  RCC_OscInitStruct.PLL.PLLQ = 8;
  if (HAL_RCC_OscConfig(&RCC_OscInitStruct) != HAL_OK)
  {
    Error_Handler();
  }

  /** Activate the Over-Drive mode
  */
  if (HAL_PWREx_EnableOverDrive() != HAL_OK)
  {
    Error_Handler();
  }

  /** Initializes the CPU, AHB and APB buses clocks
  */
  RCC_ClkInitStruct.ClockType = RCC_CLOCKTYPE_HCLK|RCC_CLOCKTYPE_SYSCLK
                              |RCC_CLOCKTYPE_PCLK1|RCC_CLOCKTYPE_PCLK2;
  RCC_ClkInitStruct.SYSCLKSource = RCC_SYSCLKSOURCE_PLLCLK;
  RCC_ClkInitStruct.AHBCLKDivider = RCC_SYSCLK_DIV1;
  RCC_ClkInitStruct.APB1CLKDivider = RCC_HCLK_DIV4;
  RCC_ClkInitStruct.APB2CLKDivider = RCC_HCLK_DIV2;

  if (HAL_RCC_ClockConfig(&RCC_ClkInitStruct, FLASH_LATENCY_5) != HAL_OK)
  {
    Error_Handler();
  }
}

static void MX_I2C3_Init(void)
{

  hi2c3.Instance = I2C3;
  hi2c3.Init.ClockSpeed = 100000;
  hi2c3.Init.DutyCycle = I2C_DUTYCYCLE_2;
  hi2c3.Init.OwnAddress1 = 0;
  hi2c3.Init.AddressingMode = I2C_ADDRESSINGMODE_7BIT;
  hi2c3.Init.DualAddressMode = I2C_DUALADDRESS_DISABLE;
  hi2c3.Init.OwnAddress2 = 0;
  hi2c3.Init.GeneralCallMode = I2C_GENERALCALL_DISABLE;
  hi2c3.Init.NoStretchMode = I2C_NOSTRETCH_DISABLE;
  if (HAL_I2C_Init(&hi2c3) != HAL_OK)
  {
    Error_Handler();
  }

  /** Configure Analogue filter
  */
  if (HAL_I2CEx_ConfigAnalogFilter(&hi2c3, I2C_ANALOGFILTER_ENABLE) != HAL_OK)
  {
    Error_Handler();
  }

  /** Configure Digital filter
  */
  if (HAL_I2CEx_ConfigDigitalFilter(&hi2c3, 0) != HAL_OK)
  {
    Error_Handler();
  }

}

static void MX_RNG_Init(void)
{

  hrng.Instance = RNG;
  if (HAL_RNG_Init(&hrng) != HAL_OK)
  {
    Error_Handler();
  }

}

static void MX_SPI5_Init(void)
{

  /* SPI5 parameter configuration*/
  hspi5.Instance = SPI5;
  hspi5.Init.Mode = SPI_MODE_MASTER;
  hspi5.Init.Direction = SPI_DIRECTION_2LINES;
  hspi5.Init.DataSize = SPI_DATASIZE_8BIT;
  hspi5.Init.CLKPolarity = SPI_POLARITY_LOW;
  hspi5.Init.CLKPhase = SPI_PHASE_1EDGE;
  hspi5.Init.NSS = SPI_NSS_SOFT;
  hspi5.Init.BaudRatePrescaler = SPI_BAUDRATEPRESCALER_2;
  hspi5.Init.FirstBit = SPI_FIRSTBIT_MSB;
  hspi5.Init.TIMode = SPI_TIMODE_DISABLE;
  hspi5.Init.CRCCalculation = SPI_CRCCALCULATION_DISABLE;
  hspi5.Init.CRCPolynomial = 10;
  if (HAL_SPI_Init(&hspi5) != HAL_OK)
  {
    Error_Handler();
  }

}

static void MX_TIM1_Init(void)
{

  TIM_ClockConfigTypeDef sClockSourceConfig = {0};
  TIM_MasterConfigTypeDef sMasterConfig = {0};

  htim1.Instance = TIM1;
  htim1.Init.Prescaler = 0;
  htim1.Init.CounterMode = TIM_COUNTERMODE_UP;
  htim1.Init.Period = 65535;
  htim1.Init.ClockDivision = TIM_CLOCKDIVISION_DIV1;
  htim1.Init.RepetitionCounter = 0;
  htim1.Init.AutoReloadPreload = TIM_AUTORELOAD_PRELOAD_DISABLE;
  if (HAL_TIM_Base_Init(&htim1) != HAL_OK)
  {
    Error_Handler();
  }
  sClockSourceConfig.ClockSource = TIM_CLOCKSOURCE_INTERNAL;
  if (HAL_TIM_ConfigClockSource(&htim1, &sClockSourceConfig) != HAL_OK)
  {
    Error_Handler();
  }
  sMasterConfig.MasterOutputTrigger = TIM_TRGO_RESET;
  sMasterConfig.MasterSlaveMode = TIM_MASTERSLAVEMODE_DISABLE;
  if (HAL_TIMEx_MasterConfigSynchronization(&htim1, &sMasterConfig) != HAL_OK)
  {
    Error_Handler();
  }

}

static void MX_USART1_UART_Init(void)
{

  huart1.Instance = USART1;
  huart1.Init.BaudRate = 115200;
  huart1.Init.WordLength = UART_WORDLENGTH_8B;
  huart1.Init.StopBits = UART_STOPBITS_1;
  huart1.Init.Parity = UART_PARITY_NONE;
  huart1.Init.Mode = UART_MODE_TX_RX;
  huart1.Init.HwFlowCtl = UART_HWCONTROL_NONE;
  huart1.Init.OverSampling = UART_OVERSAMPLING_16;
  if (HAL_UART_Init(&huart1) != HAL_OK)
  {
    Error_Handler();
  }

}

/* FMC initialization function */
static void MX_FMC_Init(void)
{

  FMC_SDRAM_TimingTypeDef SdramTiming = {0};

  /** Perform the SDRAM1 memory initialization sequence
  */
  hsdram1.Instance = FMC_SDRAM_DEVICE;
  /* hsdram1.Init */
  hsdram1.Init.SDBank = FMC_SDRAM_BANK2;
  hsdram1.Init.ColumnBitsNumber = FMC_SDRAM_COLUMN_BITS_NUM_8;
  hsdram1.Init.RowBitsNumber = FMC_SDRAM_ROW_BITS_NUM_12;
  hsdram1.Init.MemoryDataWidth = FMC_SDRAM_MEM_BUS_WIDTH_16;
  hsdram1.Init.InternalBankNumber = FMC_SDRAM_INTERN_BANKS_NUM_4;
  hsdram1.Init.CASLatency = FMC_SDRAM_CAS_LATENCY_1;
  hsdram1.Init.WriteProtection = FMC_SDRAM_WRITE_PROTECTION_DISABLE;
  hsdram1.Init.SDClockPeriod = FMC_SDRAM_CLOCK_DISABLE;
  hsdram1.Init.ReadBurst = FMC_SDRAM_RBURST_DISABLE;
  hsdram1.Init.ReadPipeDelay = FMC_SDRAM_RPIPE_DELAY_0;
  /* SdramTiming */
  SdramTiming.LoadToActiveDelay = 16;
  SdramTiming.ExitSelfRefreshDelay = 16;
  SdramTiming.SelfRefreshTime = 16;
  SdramTiming.RowCycleDelay = 16;
  SdramTiming.WriteRecoveryTime = 16;
  SdramTiming.RPDelay = 16;
  SdramTiming.RCDDelay = 16;

  if (HAL_SDRAM_Init(&hsdram1, &SdramTiming) != HAL_OK)
  {
    Error_Handler( );
  }

}

static void MX_GPIO_Init(void)
{
  GPIO_InitTypeDef GPIO_InitStruct = {0};

  /* GPIO Ports Clock Enable */
  __HAL_RCC_GPIOC_CLK_ENABLE();
  __HAL_RCC_GPIOF_CLK_ENABLE();
  __HAL_RCC_GPIOH_CLK_ENABLE();
  __HAL_RCC_GPIOA_CLK_ENABLE();
  __HAL_RCC_GPIOB_CLK_ENABLE();
  __HAL_RCC_GPIOG_CLK_ENABLE();
  __HAL_RCC_GPIOE_CLK_ENABLE();
  __HAL_RCC_GPIOD_CLK_ENABLE();

  /*Configure GPIO pin Output Level */
  HAL_GPIO_WritePin(GPIOC, NCS_MEMS_SPI_Pin|CSX_Pin|OTG_FS_PSO_Pin, GPIO_PIN_RESET);

  /*Configure GPIO pin Output Level */
  HAL_GPIO_WritePin(ACP_RST_GPIO_Port, ACP_RST_Pin, GPIO_PIN_RESET);

  /*Configure GPIO pin Output Level */
  HAL_GPIO_WritePin(GPIOD, RDX_Pin|WRX_DCX_Pin, GPIO_PIN_RESET);

  /*Configure GPIO pin Output Level */
  HAL_GPIO_WritePin(GPIOG, LD3_Pin|LD4_Pin, GPIO_PIN_RESET);

  /*Configure GPIO pin : ENABLE_Pin */
  GPIO_InitStruct.Pin = ENABLE_Pin;
  GPIO_InitStruct.Mode = GPIO_MODE_AF_PP;
  GPIO_InitStruct.Pull = GPIO_NOPULL;
  GPIO_InitStruct.Speed = GPIO_SPEED_FREQ_LOW;
  GPIO_InitStruct.Alternate = GPIO_AF14_LTDC;
  HAL_GPIO_Init(ENABLE_GPIO_Port, &GPIO_InitStruct);

  /*Configure GPIO pins : NCS_MEMS_SPI_Pin CSX_Pin OTG_FS_PSO_Pin */
  GPIO_InitStruct.Pin = NCS_MEMS_SPI_Pin|CSX_Pin|OTG_FS_PSO_Pin;
  GPIO_InitStruct.Mode = GPIO_MODE_OUTPUT_PP;
  GPIO_InitStruct.Pull = GPIO_NOPULL;
  GPIO_InitStruct.Speed = GPIO_SPEED_FREQ_LOW;
  HAL_GPIO_Init(GPIOC, &GPIO_InitStruct);

  /*Configure GPIO pins : B1_Pin MEMS_INT1_Pin MEMS_INT2_Pin TP_INT1_Pin */
  GPIO_InitStruct.Pin = B1_Pin|MEMS_INT1_Pin|MEMS_INT2_Pin|TP_INT1_Pin;
  GPIO_InitStruct.Mode = GPIO_MODE_EVT_RISING;
  GPIO_InitStruct.Pull = GPIO_NOPULL;
  HAL_GPIO_Init(GPIOA, &GPIO_InitStruct);

  /*Configure GPIO pins : B5_Pin VSYNC_Pin G2_Pin R4_Pin
                           R5_Pin */
  GPIO_InitStruct.Pin = B5_Pin|VSYNC_Pin|G2_Pin|R4_Pin
                          |R5_Pin;
  GPIO_InitStruct.Mode = GPIO_MODE_AF_PP;
  GPIO_InitStruct.Pull = GPIO_NOPULL;
  GPIO_InitStruct.Speed = GPIO_SPEED_FREQ_LOW;
  GPIO_InitStruct.Alternate = GPIO_AF14_LTDC;
  HAL_GPIO_Init(GPIOA, &GPIO_InitStruct);

  /*Configure GPIO pin : ACP_RST_Pin */
  GPIO_InitStruct.Pin = ACP_RST_Pin;
  GPIO_InitStruct.Mode = GPIO_MODE_OUTPUT_PP;
  GPIO_InitStruct.Pull = GPIO_NOPULL;
  GPIO_InitStruct.Speed = GPIO_SPEED_FREQ_LOW;
  HAL_GPIO_Init(ACP_RST_GPIO_Port, &GPIO_InitStruct);

  /*Configure GPIO pin : OTG_FS_OC_Pin */
  GPIO_InitStruct.Pin = OTG_FS_OC_Pin;
  GPIO_InitStruct.Mode = GPIO_MODE_EVT_RISING;
  GPIO_InitStruct.Pull = GPIO_NOPULL;
  HAL_GPIO_Init(OTG_FS_OC_GPIO_Port, &GPIO_InitStruct);

  /*Configure GPIO pins : R3_Pin R6_Pin */
  GPIO_InitStruct.Pin = R3_Pin|R6_Pin;
  GPIO_InitStruct.Mode = GPIO_MODE_AF_PP;
  GPIO_InitStruct.Pull = GPIO_NOPULL;
  GPIO_InitStruct.Speed = GPIO_SPEED_FREQ_LOW;
  GPIO_InitStruct.Alternate = GPIO_AF9_LTDC;
  HAL_GPIO_Init(GPIOB, &GPIO_InitStruct);

  /*Configure GPIO pin : BOOT1_Pin */
  GPIO_InitStruct.Pin = BOOT1_Pin;
  GPIO_InitStruct.Mode = GPIO_MODE_INPUT;
  GPIO_InitStruct.Pull = GPIO_NOPULL;
  HAL_GPIO_Init(BOOT1_GPIO_Port, &GPIO_InitStruct);

  /*Configure GPIO pins : G4_Pin G5_Pin B6_Pin B7_Pin */
  GPIO_InitStruct.Pin = G4_Pin|G5_Pin|B6_Pin|B7_Pin;
  GPIO_InitStruct.Mode = GPIO_MODE_AF_PP;
  GPIO_InitStruct.Pull = GPIO_NOPULL;
  GPIO_InitStruct.Speed = GPIO_SPEED_FREQ_LOW;
  GPIO_InitStruct.Alternate = GPIO_AF14_LTDC;
  HAL_GPIO_Init(GPIOB, &GPIO_InitStruct);

  /*Configure GPIO pins : OTG_HS_ID_Pin OTG_HS_DM_Pin OTG_HS_DP_Pin */
  GPIO_InitStruct.Pin = OTG_HS_ID_Pin|OTG_HS_DM_Pin|OTG_HS_DP_Pin;
  GPIO_InitStruct.Mode = GPIO_MODE_AF_PP;
  GPIO_InitStruct.Pull = GPIO_NOPULL;
  GPIO_InitStruct.Speed = GPIO_SPEED_FREQ_LOW;
  GPIO_InitStruct.Alternate = GPIO_AF12_OTG_HS_FS;
  HAL_GPIO_Init(GPIOB, &GPIO_InitStruct);

  /*Configure GPIO pin : VBUS_HS_Pin */
  GPIO_InitStruct.Pin = VBUS_HS_Pin;
  GPIO_InitStruct.Mode = GPIO_MODE_INPUT;
  GPIO_InitStruct.Pull = GPIO_NOPULL;
  HAL_GPIO_Init(VBUS_HS_GPIO_Port, &GPIO_InitStruct);

  /*Configure GPIO pin : TE_Pin */
  GPIO_InitStruct.Pin = TE_Pin;
  GPIO_InitStruct.Mode = GPIO_MODE_INPUT;
  GPIO_InitStruct.Pull = GPIO_NOPULL;
  HAL_GPIO_Init(TE_GPIO_Port, &GPIO_InitStruct);

  /*Configure GPIO pins : RDX_Pin WRX_DCX_Pin */
  GPIO_InitStruct.Pin = RDX_Pin|WRX_DCX_Pin;
  GPIO_InitStruct.Mode = GPIO_MODE_OUTPUT_PP;
  GPIO_InitStruct.Pull = GPIO_NOPULL;
  GPIO_InitStruct.Speed = GPIO_SPEED_FREQ_LOW;
  HAL_GPIO_Init(GPIOD, &GPIO_InitStruct);

  /*Configure GPIO pins : R7_Pin DOTCLK_Pin B3_Pin */
  GPIO_InitStruct.Pin = R7_Pin|DOTCLK_Pin|B3_Pin;
  GPIO_InitStruct.Mode = GPIO_MODE_AF_PP;
  GPIO_InitStruct.Pull = GPIO_NOPULL;
  GPIO_InitStruct.Speed = GPIO_SPEED_FREQ_LOW;
  GPIO_InitStruct.Alternate = GPIO_AF14_LTDC;
  HAL_GPIO_Init(GPIOG, &GPIO_InitStruct);

  /*Configure GPIO pins : HSYNC_Pin G6_Pin R2_Pin */
  GPIO_InitStruct.Pin = HSYNC_Pin|G6_Pin|R2_Pin;
  GPIO_InitStruct.Mode = GPIO_MODE_AF_PP;
  GPIO_InitStruct.Pull = GPIO_NOPULL;
  GPIO_InitStruct.Speed = GPIO_SPEED_FREQ_LOW;
  GPIO_InitStruct.Alternate = GPIO_AF14_LTDC;
  HAL_GPIO_Init(GPIOC, &GPIO_InitStruct);

  /*Configure GPIO pins : G7_Pin B2_Pin */
  GPIO_InitStruct.Pin = G7_Pin|B2_Pin;
  GPIO_InitStruct.Mode = GPIO_MODE_AF_PP;
  GPIO_InitStruct.Pull = GPIO_NOPULL;
  GPIO_InitStruct.Speed = GPIO_SPEED_FREQ_LOW;
  GPIO_InitStruct.Alternate = GPIO_AF14_LTDC;
  HAL_GPIO_Init(GPIOD, &GPIO_InitStruct);

  /*Configure GPIO pins : G3_Pin B4_Pin */
  GPIO_InitStruct.Pin = G3_Pin|B4_Pin;
  GPIO_InitStruct.Mode = GPIO_MODE_AF_PP;
  GPIO_InitStruct.Pull = GPIO_NOPULL;
  GPIO_InitStruct.Speed = GPIO_SPEED_FREQ_LOW;
  GPIO_InitStruct.Alternate = GPIO_AF9_LTDC;
  HAL_GPIO_Init(GPIOG, &GPIO_InitStruct);

  /*Configure GPIO pins : LD3_Pin LD4_Pin */
  GPIO_InitStruct.Pin = LD3_Pin|LD4_Pin;
  GPIO_InitStruct.Mode = GPIO_MODE_OUTPUT_PP;
  GPIO_InitStruct.Pull = GPIO_NOPULL;
  GPIO_InitStruct.Speed = GPIO_SPEED_FREQ_LOW;
  HAL_GPIO_Init(GPIOG, &GPIO_InitStruct);

}

/* USER CODE BEGIN 4 */
int __io_putchar(int ch)
{
    HAL_UART_Transmit(&huart1, (uint8_t *)&ch, 1, HAL_MAX_DELAY);
    return ch;
}

int _write(int file, char *ptr, int len)
{
    HAL_UART_Transmit(&huart1, (uint8_t *)ptr, len, HAL_MAX_DELAY);
    return len;
}
/* USER CODE END 4 */

void HAL_TIM_PeriodElapsedCallback(TIM_HandleTypeDef *htim)
{
  if (htim->Instance == TIM6)
  {
    HAL_IncTick();
  }
}

void Error_Handler(void)
{
  __disable_irq();
  while (1)
  {
  }
}
